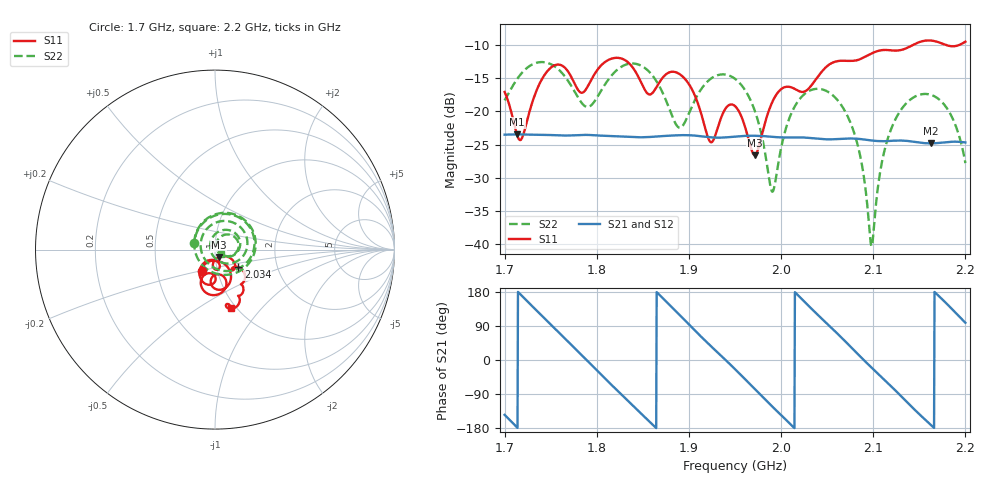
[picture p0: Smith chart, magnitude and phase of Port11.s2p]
# Hz S RI R 50
! CMT, CMT808U, 21440046, 21.4.3/4
! Date: 11/20/2025 11:39:44 PM
! Data: Format (Calibration Info)
! Freq	S11:Re/Im(F2)	S41:Re/Im(F2)	S14:Re/Im(F2)	S44:Re/Im(F2)
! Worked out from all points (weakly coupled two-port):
!   1001 points, 1.7 GHz to 2.2 GHz, reference 50 ohm
!   highest |S21| = -23.44 dB at 1.714 GHz (marker M1); lowest = -24.8 dB at 2.163 GHz (marker M2)
!   lowest |S11| = -26.6 dB at 1.972 GHz (marker M3), VSWR 1.10, Z = 51.8 - j4.4 ohm
!   |S11| at or under -10 dB: start of sweep to 2.143 GHz; 2.18 GHz to 2.193 GHz (13.11 MHz wide, 0.6 % of centre)
!   |S22| runs from -40.3 to -12.5 dB; largest |S21 - S12| = 0.00079
!   S11 on the Smith chart (normalised r, x): 1.7 GHz: 0.84, -0.20; 2.034 GHz: 1.27, -0.26; 2.2 GHz: 0.95, -0.69
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1.7e9  -0.0743 -0.119  -0.0546 -0.0387  -0.0551 -0.0383  -0.1157 0.0363
1.7135e9  -0.0221 -0.063  -0.0672 -0.00255  -0.0675 -0.00195  -0.0515 0.1677
1.752e9  0.0639 -0.2092  0.00169 0.0663  0.00228 0.0665  0.2239 -9.94e-05
1.7835e9  0.0119 -0.1378  0.0648 0.0151  0.0652 0.0146  -0.0497 -0.1053
1.8225e9  -0.014 -0.2535  0.00997 -0.0642  0.00935 -0.0645  0.0582 0.1988
1.8455e9  -0.0755 -0.1639  -0.0454 -0.0449  -0.046 -0.0446  0.2191 0.054
1.867e9  0.00352 -0.1618  -0.0646 0.0064  -0.0647 0.00707  0.1133 -0.1121
1.8905e9  -0.0708 -0.1764  -0.0305 0.0588  -0.03 0.0593  -0.0715 -0.0241
1.9235e9  -0.0126 -0.0574  0.0508 0.0388  0.0513 0.0383  0.0797 0.1571
1.95e9  -0.000509 -0.1098  0.059 -0.0264  0.0589 -0.0271  0.1764 0.00343
1.9715e9  0.02 -0.0424  0.0152 -0.0638  0.0144 -0.0642  0.0648 -0.0776
1.991e9  0.1021 -0.0631  -0.0361 -0.0532  -0.0368 -0.053  -0.0245 -0.00456
2.0095e9  0.101 -0.1151  -0.0623 -0.0135  -0.0626 -0.0128  0.00606 0.0907
2.0335e9  0.1264 -0.0969  -0.0438 0.0452  -0.0433 0.0457  0.1157 0.0888
2.0345e9  0.1299 -0.0979  -0.0418 0.0469  -0.0414 0.0474  0.1191 0.0856
2.076e9  0.1445 -0.1926  0.0521 0.0347  0.0525 0.0342  0.069 -0.0404
2.0875e9  0.1525 -0.1997  0.0615 0.0057  0.0617 0.00511  0.0302 -0.0269
2.098e9  0.1585 -0.2228  0.0569 -0.0204  0.0568 -0.021  0.00935 0.00235
2.117e9  0.1338 -0.2574  0.0268 -0.0536  0.0263 -0.054  0.0216 0.0627
2.163e9  0.0921 -0.3298  -0.057 -0.00754  -0.057 -0.00688  0.132 0.0184
2.184e9  0.0636 -0.3044  -0.044 0.0394  -0.0435 0.0399  0.0884 -0.0346
2.2e9  0.0879 -0.3246  -0.00833 0.0578  -0.00773 0.0579  0.0334 -0.0235
